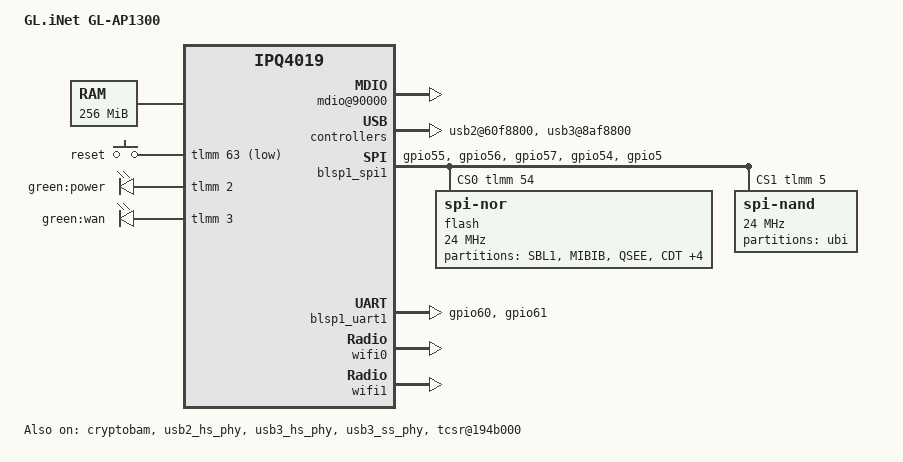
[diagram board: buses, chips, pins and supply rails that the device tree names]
// SPDX-License-Identifier: GPL-2.0-or-later OR MIT

#include "qcom-ipq4019.dtsi"
#include <dt-bindings/gpio/gpio.h>
#include <dt-bindings/input/input.h>
#include <dt-bindings/soc/qcom,tcsr.h>

/ {
	model = "GL.iNet GL-AP1300";
	compatible = "glinet,gl-ap1300";

	aliases {
		led-boot = &led_power;
		led-failsafe = &led_power;
		led-running = &led_power;
		led-upgrade = &led_power;
		label-mac-device = &gmac0;
	};

	memory {
		device_type = "memory";
		reg = <0x80000000 0x10000000>;
	};

	chosen {
		bootargs-append = " ubi.mtd=ubi root=/dev/ubiblock0_1";
	};

	soc {
		rng@22000 {
			status = "okay";
		};

		mdio@90000 {
			status = "okay";
		};

		ess-psgmii@98000 {
			status = "okay";
		};

		tcsr@1949000 {
			compatible = "qcom,tcsr";
			reg = <0x1949000 0x100>;
			qcom,wifi_glb_cfg = <TCSR_WIFI_GLB_CFG>;
		};

		tcsr@194b000 {
			/* select hostmode */
			compatible = "qcom,tcsr";
			reg = <0x194b000 0x100>;
			qcom,usb-hsphy-mode-select = <TCSR_USB_HSPHY_HOST_MODE>;
			status = "okay";
		};

		ess_tcsr@1953000 {
			compatible = "qcom,tcsr";
			reg = <0x1953000 0x1000>;
			qcom,ess-interface-select = <TCSR_ESS_PSGMII>;
		};

		tcsr@1957000 {
			compatible = "qcom,tcsr";
			reg = <0x1957000 0x100>;
			qcom,wifi_noc_memtype_m0_m2 = <TCSR_WIFI_NOC_MEMTYPE_M0_M2>;
		};

		usb2@60f8800 {
			status = "okay";
		};

		usb3@8af8800 {
			status = "okay";
		};

		crypto@8e3a000 {
			status = "okay";
		};

		watchdog@b017000 {
			status = "okay";
		};

		ess-switch@c000000 {
			status = "okay";
			switch_lan_bmp = <0x18>;
			switch_wan_bmp = <0x20>;
		};

		edma@c080000 {
			status = "okay";
		};
	};

	keys {
		compatible = "gpio-keys";

		reset {
			label = "reset";
			gpios = <&tlmm 63 GPIO_ACTIVE_LOW>;
			linux,code = <KEY_RESTART>;
		};
	};

	leds {
		compatible = "gpio-leds";

		led_power: power {
			label = "green:power";
			gpios = <&tlmm 2 GPIO_ACTIVE_HIGH>;
			default-state = "on";
		};

		wan {
			label = "green:wan";
			gpios = <&tlmm 3 GPIO_ACTIVE_HIGH>;
		};
	};
};

&blsp_dma {
	status = "okay";
};

&cryptobam {
	status = "okay";
};

&blsp1_spi1 {
	status = "okay";

	pinctrl-0 = <&spi0_pins>;
	pinctrl-names = "default";
	cs-gpios = <&tlmm 54 GPIO_ACTIVE_HIGH>, <&tlmm 5 GPIO_ACTIVE_HIGH>;

	flash@0 {
		status = "okay";

		compatible = "jedec,spi-nor";
		reg = <0>;
		spi-max-frequency = <24000000>;

		partitions {
			compatible = "fixed-partitions";
			#address-cells = <1>;
			#size-cells = <1>;

			partition@0 {
				label = "SBL1";
				reg = <0x00000000 0x00040000>;
				read-only;
			};

			partition@40000 {
				label = "MIBIB";
				reg = <0x00040000 0x00020000>;
				read-only;
			};

			partition@60000 {
				label = "QSEE";
				reg = <0x00060000 0x00060000>;
				read-only;
			};

			partition@c0000 {
				label = "CDT";
				reg = <0x000c0000 0x00010000>;
				read-only;
			};

			partition@d0000 {
				label = "DDRPARAMS";
				reg = <0x000d0000 0x00010000>;
				read-only;
			};

			partition@e0000 {
				label = "APPSBLENV"; /* uboot env*/
				reg = <0x000e0000 0x00010000>;
			};

			partition@f0000 {
				label = "APPSBL"; /* uboot */
				reg = <0x000f0000 0x00080000>;
				read-only;
			};

			partition@170000 {
				label = "ART";
				reg = <0x00170000 0x00010000>;
				read-only;
				compatible = "nvmem-cells";
				#address-cells = <1>;
				#size-cells = <1>;

				precal_art_1000: precal@1000 {
					reg = <0x1000 0x2f20>;
				};

				precal_art_5000: precal@5000 {
					reg = <0x5000 0x2f20>;
				};
			};
		};
	};

	spi-nand@1 {
		status = "okay";

		compatible = "spi-nand";
		reg = <1>;
		spi-max-frequency = <24000000>;

		partitions {
			compatible = "fixed-partitions";
			#address-cells = <1>;
			#size-cells = <1>;

			partition@0 {
				label = "ubi";
				reg = <0x00000000 0x08000000>;
			};
		};
	};
};

&blsp1_uart1 {
	pinctrl-0 = <&serial_pins>;
	pinctrl-names = "default";
	status = "okay";
};

&tlmm {
	serial_pins: serial_pinmux {
		mux {
			pins = "gpio60", "gpio61";
			function = "blsp_uart0";
			bias-disable;
		};
	};

	spi0_pins: spi0_pinmux {
		mux_spi {
			function = "blsp_spi0";
			pins = "gpio55", "gpio56", "gpio57";
			drive-strength = <12>;
			bias-disable;
		};

		mux_cs {
			function = "gpio";
			pins = "gpio54", "gpio5";
			drive-strength = <2>;
			bias-disable;
			output-high;
		};
	};
};

&usb2_hs_phy {
	status = "okay";
};

&usb3_hs_phy {
	status = "okay";
};

&usb3_ss_phy {
	status = "okay";
};

&wifi0 {
	status = "okay";
	nvmem-cell-names = "pre-calibration";
	nvmem-cells = <&precal_art_1000>;
	qcom,ath10k-calibration-variant = "GL-AP1300";
};

&wifi1 {
	status = "okay";
	nvmem-cell-names = "pre-calibration";
	nvmem-cells = <&precal_art_5000>;
	qcom,ath10k-calibration-variant = "GL-AP1300";
};
